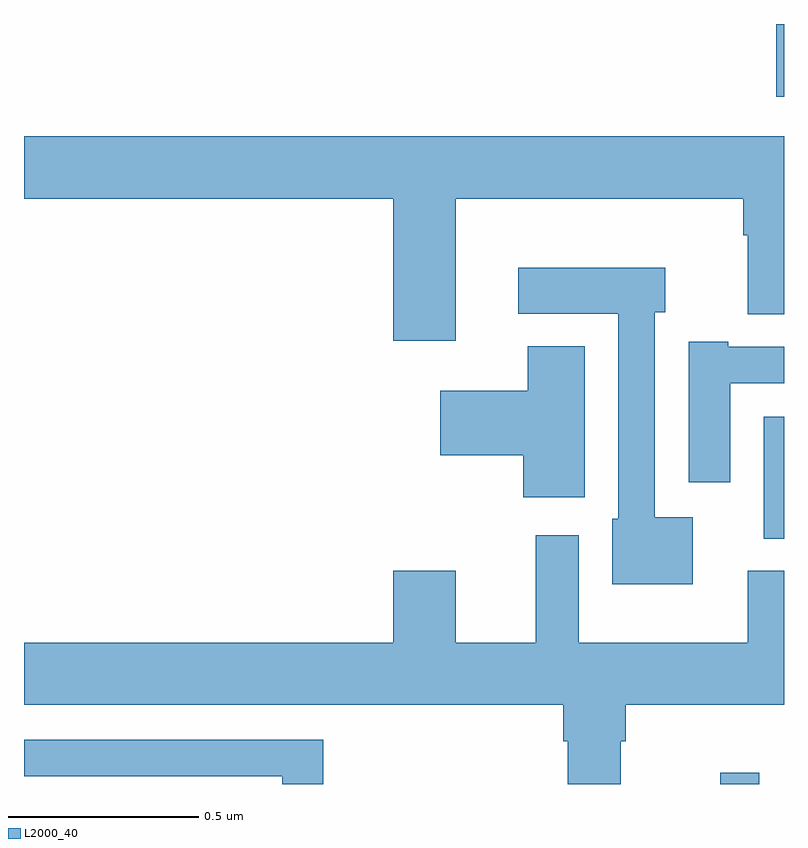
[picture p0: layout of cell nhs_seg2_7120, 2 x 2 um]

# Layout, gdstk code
import gdstk
lib = gdstk.Library(unit=1e-6, precision=1e-09)
def R(c, l, rs):  # rectangles x0, y0, x1, y1
    for r in rs: c.add(gdstk.rectangle(r[:2], r[2:], *l))
def P(c, l, *ps):  # polygons
    for p in ps: c.add(gdstk.Polygon(p, *l))
L2000_40 = (2000, 40)

nhs_seg2_7120 = lib.new_cell('nhs_seg2_7120')
R(nhs_seg2_7120, L2000_40, [(201.832,608.8,201.935,608.83), (201.947,609.446,202,609.766), (201.98,610.608,202,610.8)])
P(nhs_seg2_7120, L2000_40, [(201.136,610.34),(201.893,610.34),(201.893,610.244),(201.905,610.244),(201.905,610.036),(202,610.036),(202,610.504),(200,610.504),(200,610.34),(200.972,610.34),(200.972,609.966),(201.136,609.966)],
  [(201.76,609.502),(201.66,609.502),(201.66,610.041),(201.688,610.041),(201.688,610.159),(201.3,610.159),(201.3,610.037),(201.564,610.037),(201.564,609.498),(201.548,609.498),(201.548,609.326),(201.76,609.326)],
  [(201.859,609.855),(202,609.855),(202,609.951),(201.853,609.951),(201.853,609.964),(201.749,609.964),(201.749,609.594),(201.859,609.594)],
  [(201.475,609.952),(201.326,609.952),(201.326,609.835),(201.096,609.835),(201.096,609.665),(201.314,609.665),(201.314,609.555),(201.475,609.555)],
  [(201.571,608.912),(201.584,608.912),(201.584,609.008),(202,609.008),(202,609.361),(201.905,609.361),(201.905,609.172),(201.46,609.172),(201.46,609.454),(201.347,609.454),(201.347,609.172),(201.136,609.172),(201.136,609.361),(200.972,609.361),(200.972,609.172),(200,609.172),(200,609.008),(201.419,609.008),(201.419,608.912),(201.431,608.912),(201.431,608.8),(201.571,608.8)],
  [(200.788,608.916),(200,608.916),(200,608.82),(200.679,608.82),(200.679,608.8),(200.788,608.8)])

lib.write_gds('nhs_seg2_7120.gds')
